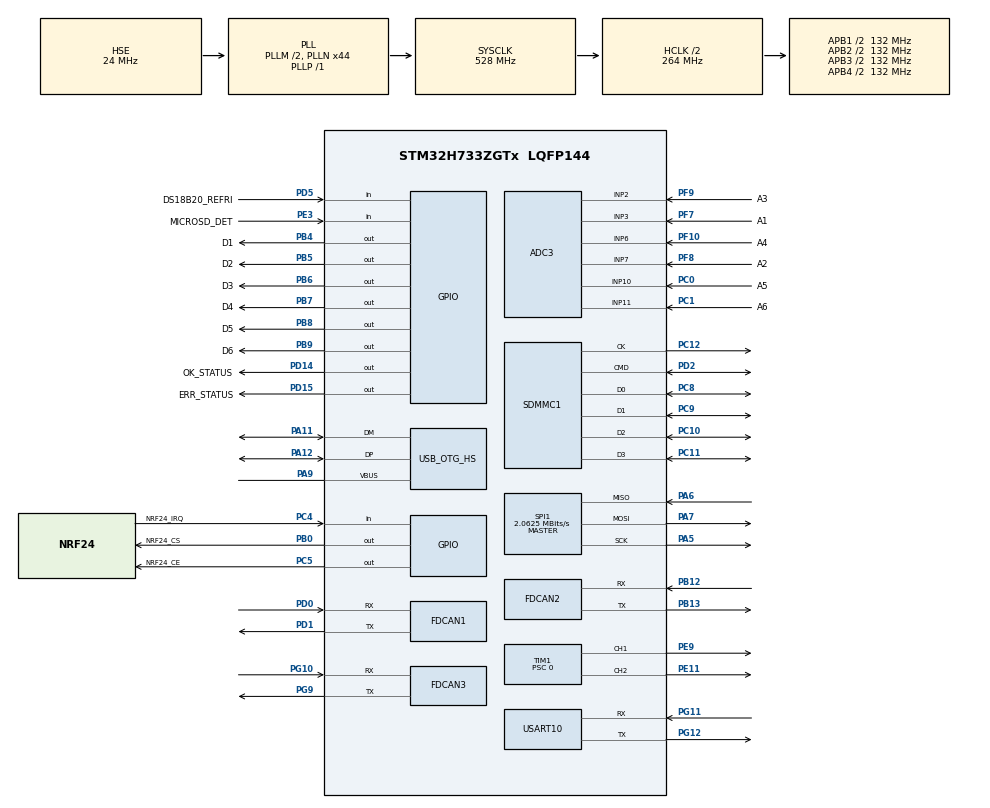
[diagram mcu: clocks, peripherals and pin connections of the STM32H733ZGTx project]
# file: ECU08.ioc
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ADC3.Channel-0\#ChannelRegularConversion=ADC_CHANNEL_3
ADC3.NbrOfConversionFlag=1
ADC3.OffsetNumber-0\#ChannelRegularConversion=ADC_OFFSET_NONE
ADC3.OffsetSign-0\#ChannelRegularConversion=ADC3_OFFSET_SIGN_NEGATIVE
ADC3.Rank-0\#ChannelRegularConversion=1
ADC3.SamplingTime-0\#ChannelRegularConversion=ADC3_SAMPLETIME_2CYCLES_5
FDCAN1.AutoRetransmission=ENABLE
FDCAN1.CalculateBaudRateNominal=500000
FDCAN1.CalculateTimeBitNominal=2000
FDCAN1.CalculateTimeQuantumNominal=250.0
FDCAN1.ExtFiltersNbr=1
FDCAN1.NominalPrescaler=6
FDCAN1.NominalTimeSeg1=2
FDCAN1.NominalTimeSeg2=5
FDCAN1.RxBuffersNbr=0
FDCAN1.RxFifo0ElmtsNbr=32
FDCAN1.RxFifo1ElmtsNbr=32
FDCAN1.StdFiltersNbr=1
FDCAN1.TxBuffersNbr=0
FDCAN1.TxEventsNbr=0
FDCAN1.TxFifoQueueElmtsNbr=32
FDCAN2.CalculateBaudRateNominal=500000
FDCAN2.CalculateTimeBitNominal=2000
FDCAN2.CalculateTimeQuantumNominal=250.0
FDCAN2.ExtFiltersNbr=1
FDCAN2.FrameFormat=FDCAN_FRAME_CLASSIC
FDCAN2.NominalPrescaler=6
FDCAN2.NominalTimeSeg1=2
FDCAN2.NominalTimeSeg2=5
FDCAN2.RxBuffersNbr=0
FDCAN2.RxFifo0ElmtSize=FDCAN_DATA_BYTES_8
FDCAN2.RxFifo0ElmtsNbr=16
FDCAN2.RxFifo1ElmtsNbr=16
FDCAN2.StdFiltersNbr=1
FDCAN2.TxBuffersNbr=0
FDCAN2.TxEventsNbr=0
FDCAN2.TxFifoQueueElmtsNbr=16
FDCAN3.CalculateBaudRateNominal=500000
FDCAN3.CalculateTimeBitNominal=2000
FDCAN3.CalculateTimeQuantumNominal=250.0
FDCAN3.ExtFiltersNbr=1
FDCAN3.NominalPrescaler=6
FDCAN3.NominalTimeSeg1=2
FDCAN3.NominalTimeSeg2=5
FDCAN3.RxFifo0ElmtsNbr=16
FDCAN3.RxFifo1ElmtsNbr=16
FDCAN3.StdFiltersNbr=1
FDCAN3.TxFifoQueueElmtsNbr=16
FREERTOS.Tasks01=defaultTask,24,128,StartDefaultTask,Default,NULL,Dynamic,NULL,NULL
Mcu.Family=STM32H7
Mcu.Name=STM32H733ZGTx
Mcu.Package=LQFP144
NVIC.FDCAN1_IT0_IRQn=true\:1\:0\:true\:false\:true\:true\:true\:true\:true
NVIC.FDCAN2_IT0_IRQn=true\:2\:0\:true\:false\:true\:true\:true\:true\:true
NVIC.FDCAN3_IT0_IRQn=true\:5\:0\:false\:false\:true\:true\:true\:true\:true
NVIC.PriorityGroup=NVIC_PRIORITYGROUP_4
NVIC.SDMMC1_IRQn=true\:5\:0\:false\:false\:true\:true\:true\:true\:true
NVIC.SPI1_IRQn=true\:5\:0\:false\:false\:true\:true\:true\:true\:true
NVIC.TIM16_IRQn=true\:5\:0\:false\:false\:true\:true\:true\:true\:true
NVIC.USART10_IRQn=true\:5\:0\:false\:false\:true\:true\:true\:true\:true
PA11.Mode=Device_Only_FS
PA11.Signal=USB_OTG_HS_DM
PA12.Mode=Device_Only_FS
PA12.Signal=USB_OTG_HS_DP
PA13(JTMS/SWDIO).Mode=Serial_Wire
PA13(JTMS/SWDIO).Signal=DEBUG_JTMS-SWDIO
PA14(JTCK/SWCLK).Mode=Serial_Wire
PA14(JTCK/SWCLK).Signal=DEBUG_JTCK-SWCLK
PA5.Mode=Full_Duplex_Master
PA5.Signal=SPI1_SCK
PA6.Mode=Full_Duplex_Master
PA6.Signal=SPI1_MISO
PA7.Mode=Full_Duplex_Master
PA7.Signal=SPI1_MOSI
PA9.Mode=Activate_VBUS_FS
PA9.Signal=USB_OTG_HS_VBUS
PB0.GPIO_Label=NRF24_CS
PB0.Signal=GPIO_Output
PB12.Mode=FDCAN_Activate
PB12.Signal=FDCAN2_RX
PB13.Mode=FDCAN_Activate
PB13.Signal=FDCAN2_TX
PB4(NJTRST).GPIO_Label=D1
PB4(NJTRST).Signal=GPIO_Output
PB5.GPIO_Label=D2
PB5.Signal=GPIO_Output
PB6.GPIO_Label=D3
PB6.Signal=GPIO_Output
PB7.GPIO_Label=D4
PB7.Signal=GPIO_Output
PB8.GPIO_Label=D5
PB8.Signal=GPIO_Output
PB9.GPIO_Label=D6
PB9.Signal=GPIO_Output
PC0.GPIO_Label=A5
PC0.Signal=ADCx_INP10
PC1.GPIO_Label=A6
PC1.Signal=ADCx_INP11
PC10.Mode=SD_4_bits_Wide_bus
PC10.Signal=SDMMC1_D2
PC11.Mode=SD_4_bits_Wide_bus
PC11.Signal=SDMMC1_D3
PC12.Mode=SD_4_bits_Wide_bus
PC12.Signal=SDMMC1_CK
PC4.GPIO_Label=NRF24_IRQ
PC4.Signal=GPIO_Input
PC5.GPIO_Label=NRF24_CE
PC5.Signal=GPIO_Output
PC8.Mode=SD_4_bits_Wide_bus
PC8.Signal=SDMMC1_D0
PC9.Mode=SD_4_bits_Wide_bus
PC9.Signal=SDMMC1_D1
PD0.Mode=FDCAN_Activate
PD0.Signal=FDCAN1_RX
PD1.Mode=FDCAN_Activate
PD1.Signal=FDCAN1_TX
PD14.GPIO_Label=OK_STATUS
PD14.Signal=GPIO_Output
PD15.GPIO_Label=ERR_STATUS
PD15.Signal=GPIO_Output
PD2.Mode=SD_4_bits_Wide_bus
PD2.Signal=SDMMC1_CMD
PD5.GPIO_Label=DS18B20_REFRI
PD5.Signal=GPIO_Input
PE11.Signal=S_TIM1_CH2
PE3.GPIO_Label=MICROSD_DET
PE3.Signal=GPIO_Input
PE9.Signal=S_TIM1_CH1
PF10.GPIO_Label=A4
PF10.Mode=IN6-Single-Ended
PF10.Signal=ADC3_INP6
PF7.GPIO_Label=A1
PF7.Mode=IN3-Single-Ended
PF7.Signal=ADC3_INP3
PF8.GPIO_Label=A2
PF8.Signal=SharedAnalog_PF8
PF9.GPIO_Label=A3
PF9.Mode=IN2-Single-Ended
PF9.Signal=ADC3_INP2
PG10.Mode=FDCAN_Activate
PG10.Signal=FDCAN3_RX
PG11.Mode=Asynchronous
PG11.Signal=USART10_RX
PG12.Mode=Asynchronous
PG12.Signal=USART10_TX
PG9.Mode=FDCAN_Activate
PG9.Signal=FDCAN3_TX
PH0-OSC_IN.Mode=HSE-External-Oscillator
PH0-OSC_IN.Signal=RCC_OSC_IN
PH1-OSC_OUT.Mode=HSE-External-Oscillator
PH1-OSC_OUT.Signal=RCC_OSC_OUT
ProjectManager.HeapSize=0x200
ProjectManager.StackSize=0x400
ProjectManager.TargetToolchain=STM32CubeIDE
RCC.ADCCLockSelection=RCC_ADCCLKSOURCE_PLL2
RCC.ADCFreq_Value=96000000
RCC.APB1Freq_Value=132000000
RCC.APB2Freq_Value=132000000
RCC.APB3Freq_Value=132000000
RCC.APB4Freq_Value=132000000
RCC.CECCLockSelection=RCC_CECCLKSOURCE_LSI
RCC.CKPERSourceSelection=RCC_CLKPSOURCE_HSI
RCC.CSI_VALUE=4000000
RCC.CortexFreq_Value=528000000
RCC.Cortex_DivARG=SystemCoreClock/1000
RCC.D1PPRE=RCC_APB3_DIV2
RCC.D2PPRE1=RCC_APB1_DIV2
RCC.D2PPRE2=RCC_APB2_DIV2
RCC.D3PPRE=RCC_APB4_DIV2
RCC.DFSDMCLockSelection=RCC_DFSDM1CLKSOURCE_D2PCLK1
RCC.DIVM1=2
RCC.DIVM2=2
RCC.DIVN1=44
RCC.DIVN2=16
RCC.DIVP1=1
RCC.DIVQ1=4
RCC.DIVR2=1
RCC.EXTERNAL_CLOCK_VALUE=12288000
RCC.FDCANCLockSelection=RCC_FDCANCLKSOURCE_HSE
RCC.FMCCLockSelection=RCC_FMCCLKSOURCE_D1HCLK
RCC.HCLKFreq_Value=264000000
RCC.HPRE=RCC_HCLK_DIV2
RCC.HSE_VALUE=24000000
RCC.HSI48_VALUE=48000000
RCC.HSI_VALUE=64000000
RCC.I2C123CLockSelection=RCC_I2C1235CLKSOURCE_D2PCLK1
RCC.I2C4CLockSelection=RCC_I2C4CLKSOURCE_D3PCLK1
RCC.LPTIM1CLockSelection=RCC_LPTIM1CLKSOURCE_D2PCLK1
RCC.LPTIM2CLockSelection=RCC_LPTIM2CLKSOURCE_D3PCLK1
RCC.LPTIM345CLockSelection=RCC_LPTIM345CLKSOURCE_D3PCLK1
RCC.LPUART1CLockSelection=RCC_LPUART1CLKSOURCE_D3PCLK1
RCC.LSE_VALUE=32768
RCC.PLL2FRACN=0
RCC.PLL3FRACN=0
RCC.PLLFRACN=0
RCC.PLLSourceVirtual=RCC_PLLSOURCE_HSE
RCC.QSPICLockSelection=RCC_OSPICLKSOURCE_D1HCLK
RCC.RCC_MCO1Source=RCC_MCO1SOURCE_HSI
RCC.RCC_MCO2Source=RCC_MCO2SOURCE_SYSCLK
RCC.RNGCLockSelection=RCC_RNGCLKSOURCE_HSI48
RCC.SAI1CLockSelection=RCC_SAI1CLKSOURCE_PLL
RCC.SAI4ACLockSelection=RCC_SAI4ACLKSOURCE_PLL
RCC.SAI4BCLockSelection=RCC_SAI4BCLKSOURCE_PLL
RCC.SDMMC1CLockSelection=RCC_SDMMCCLKSOURCE_PLL2
RCC.SPDIFCLockSelection=RCC_SPDIFRXCLKSOURCE_PLL
RCC.SPI123CLockSelection=RCC_SPI123CLKSOURCE_PLL
RCC.SPI6CLockSelection=RCC_SPI6CLKSOURCE_D3PCLK1
RCC.SWPCLockSelection=RCC_SWPMI1CLKSOURCE_D2PCLK1
RCC.SYSCLKFreq_VALUE=528000000
RCC.SYSCLKSource=RCC_SYSCLKSOURCE_PLLCLK
RCC.Spi45ClockSelection=RCC_SPI45CLKSOURCE_D2PCLK1
RCC.USART16CLockSelection=RCC_USART16910CLKSOURCE_D2PCLK2
RCC.USART234578CLockSelection=RCC_USART234578CLKSOURCE_D2PCLK1
RCC.USBCLockSelection=RCC_USBCLKSOURCE_PLL
RCC.USBFreq_Value=132000000
SDMMC1.ClockDiv=2
SH.ADCx_INP10.0=ADC3_INP10,IN10-Single-Ended
SH.ADCx_INP11.0=ADC3_INP11,IN11-Single-Ended
SH.S_TIM1_CH1.0=TIM1_CH1,PWM Generation1 CH1
SH.S_TIM1_CH2.0=TIM1_CH2,PWM Generation2 CH2
SH.SharedAnalog_PF8.0=ADC3_INN3
SH.SharedAnalog_PF8.1=ADC3_INP7,IN7-Single-Ended
SPI1.BaudRatePrescaler=SPI_BAUDRATEPRESCALER_64
SPI1.CalculateBaudRate=2.0625 MBits/s
SPI1.DataSize=SPI_DATASIZE_8BIT
SPI1.Direction=SPI_DIRECTION_2LINES
SPI1.Mode=SPI_MODE_MASTER
SPI1.NSSPMode=SPI_NSS_PULSE_DISABLE
SPI1.VirtualType=VM_MASTER
TIM1.AutoReloadPreload=TIM_AUTORELOAD_PRELOAD_ENABLE
TIM1.Channel-PWM\ Generation1\ CH1=TIM_CHANNEL_1
TIM1.Channel-PWM\ Generation2\ CH2=TIM_CHANNEL_2
TIM1.Period=65535
TIM1.Prescaler=0
TIM16.Period=10000 - 1
TIM16.Prescaler=528
USART10.VirtualMode-Asynchronous=VM_ASYNC
USB_OTG_HS.VirtualMode-Device_Only_FS=Device_Only_FS
VP_FREERTOS_VS_CMSIS_V2.Mode=CMSIS_V2
VP_MEMORYMAP_VS_MEMORYMAP.Mode=CurAppReg
VP_TIM16_VS_ClockSourceINT.Mode=Enable_Timer
VP_TIM1_VS_ClockSourceINT.Mode=Internal
board=custom

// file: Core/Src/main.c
/* USER CODE BEGIN Header */
/**
  ******************************************************************************
  * @file           : main.c
  * @brief          : Main program body
  ******************************************************************************
  * @attention
  *
  * Copyright (c) 2025 STMicroelectronics.
  * All rights reserved.
  *
  * This software is licensed under terms that can be found in the LICENSE file
  * in the root directory of this software component.
  * If no LICENSE file comes with this software, it is provided AS-IS.
  *
  ******************************************************************************
  */
/* USER CODE END Header */
#include "main.h"
#include "cmsis_os.h"
#include "adc.h"
#include "fdcan.h"
#include "sdmmc.h"
#include "spi.h"
#include "tim.h"
#include "usart.h"
#include "usb_otg.h"
#include "gpio.h"

/* USER CODE BEGIN Includes */
//#include "app/state/inverter_sm.h"
#include "inverter_sm.h"
#include "app.h"

/* USER CODE END Includes */

void SystemClock_Config(void);
void PeriphCommonClock_Config(void);
void MX_FREERTOS_Init(void);
/* USER CODE BEGIN PFP */
/* --------- Estado lógico persistente --------- */
static app_state_t app_state;

static inverter_sm_state_t inv_sm = {
    .current = INV_STATE_BOOT
};

static inverter_sm_outputs_t inv_sm_out;

/* --------- Variables reales (HAL / CAN / GPIO) --------- */
/* Estas YA EXISTEN en tu proyecto, aquí solo se usan */
extern int s1_aceleracion;
extern int s2_aceleracion;
extern int s_freno;
extern float v_celda_min;

extern int inv_dc_bus_voltage;
extern int precarga_inv;
extern uint8_t state;              // estado CAN del inversor
extern int start_button_act;

int s1_aceleracion = 0;
int s2_aceleracion = 0;
int s_freno = 0;
float v_celda_min = 4000.0f;

int inv_dc_bus_voltage = 0;
int precarga_inv = 0;
uint8_t state = 0;
int start_button_act = 0;

/* USER CODE END PFP */

int main(void)
{

  /* MCU Configuration--------------------------------------------------------*/

  /* Reset of all peripherals, Initializes the Flash interface and the Systick. */
  HAL_Init();

  /* Configure the system clock */
  SystemClock_Config();

  /* Configure the peripherals common clocks */
  PeriphCommonClock_Config();

  /* Initialize all configured peripherals */
  MX_GPIO_Init();
  MX_FDCAN1_Init();
  MX_FDCAN2_Init();
  MX_TIM1_Init();
  MX_TIM16_Init();
  MX_FDCAN3_Init();
  MX_ADC3_Init();
  MX_USART10_UART_Init();
  MX_SDMMC1_SD_Init();
  MX_SPI1_Init();
  MX_USB_OTG_HS_PCD_Init();

  /* Init scheduler */
  osKernelInitialize();

  /* Call init function for freertos objects (in cmsis_os2.c) */
  MX_FREERTOS_Init();

  /* Start scheduler */
  osKernelStart();

  /* We should never get here as control is now taken by the scheduler */

  /* Infinite loop */
  /* USER CODE BEGIN WHILE */
  while (1)
  {
	  /* ===== INVERTER STATE MACHINE ===== */

	  /* 1) Construir inputs (USA TUS VARIABLES REALES) */

    /* USER CODE END WHILE */

  }
}

void SystemClock_Config(void)
{
  RCC_OscInitTypeDef RCC_OscInitStruct = {0};
  RCC_ClkInitTypeDef RCC_ClkInitStruct = {0};

  /** Supply configuration update enable
  */
  HAL_PWREx_ConfigSupply(PWR_LDO_SUPPLY);

  /** Configure the main internal regulator output voltage
  */
  __HAL_PWR_VOLTAGESCALING_CONFIG(PWR_REGULATOR_VOLTAGE_SCALE0);

  while(!__HAL_PWR_GET_FLAG(PWR_FLAG_VOSRDY)) {}

  /** Initializes the RCC Oscillators according to the specified parameters
  * in the RCC_OscInitTypeDef structure.
  */
  RCC_OscInitStruct.OscillatorType = RCC_OSCILLATORTYPE_HSE;
  RCC_OscInitStruct.HSEState = RCC_HSE_ON;
  RCC_OscInitStruct.PLL.PLLState = RCC_PLL_ON;
  RCC_OscInitStruct.PLL.PLLSource = RCC_PLLSOURCE_HSE;
  RCC_OscInitStruct.PLL.PLLM = 2;
  RCC_OscInitStruct.PLL.PLLN = 44;
  RCC_OscInitStruct.PLL.PLLP = 1;
  RCC_OscInitStruct.PLL.PLLQ = 4;
  RCC_OscInitStruct.PLL.PLLR = 2;
  RCC_OscInitStruct.PLL.PLLRGE = RCC_PLL1VCIRANGE_3;
  RCC_OscInitStruct.PLL.PLLVCOSEL = RCC_PLL1VCOWIDE;
  RCC_OscInitStruct.PLL.PLLFRACN = 0;
  if (HAL_RCC_OscConfig(&RCC_OscInitStruct) != HAL_OK)
  {
    Error_Handler();
  }

  /** Initializes the CPU, AHB and APB buses clocks
  */
  RCC_ClkInitStruct.ClockType = RCC_CLOCKTYPE_HCLK|RCC_CLOCKTYPE_SYSCLK
                              |RCC_CLOCKTYPE_PCLK1|RCC_CLOCKTYPE_PCLK2
                              |RCC_CLOCKTYPE_D3PCLK1|RCC_CLOCKTYPE_D1PCLK1;
  RCC_ClkInitStruct.SYSCLKSource = RCC_SYSCLKSOURCE_PLLCLK;
  RCC_ClkInitStruct.SYSCLKDivider = RCC_SYSCLK_DIV1;
  RCC_ClkInitStruct.AHBCLKDivider = RCC_HCLK_DIV2;
  RCC_ClkInitStruct.APB3CLKDivider = RCC_APB3_DIV2;
  RCC_ClkInitStruct.APB1CLKDivider = RCC_APB1_DIV2;
  RCC_ClkInitStruct.APB2CLKDivider = RCC_APB2_DIV2;
  RCC_ClkInitStruct.APB4CLKDivider = RCC_APB4_DIV2;

  if (HAL_RCC_ClockConfig(&RCC_ClkInitStruct, FLASH_LATENCY_3) != HAL_OK)
  {
    Error_Handler();
  }
}

void PeriphCommonClock_Config(void)
{
  RCC_PeriphCLKInitTypeDef PeriphClkInitStruct = {0};

  /** Initializes the peripherals clock
  */
  PeriphClkInitStruct.PeriphClockSelection = RCC_PERIPHCLK_ADC|RCC_PERIPHCLK_SDMMC;
  PeriphClkInitStruct.PLL2.PLL2M = 2;
  PeriphClkInitStruct.PLL2.PLL2N = 16;
  PeriphClkInitStruct.PLL2.PLL2P = 2;
  PeriphClkInitStruct.PLL2.PLL2Q = 2;
  PeriphClkInitStruct.PLL2.PLL2R = 1;
  PeriphClkInitStruct.PLL2.PLL2RGE = RCC_PLL2VCIRANGE_3;
  PeriphClkInitStruct.PLL2.PLL2VCOSEL = RCC_PLL2VCOWIDE;
  PeriphClkInitStruct.PLL2.PLL2FRACN = 0;
  PeriphClkInitStruct.SdmmcClockSelection = RCC_SDMMCCLKSOURCE_PLL2;
  PeriphClkInitStruct.AdcClockSelection = RCC_ADCCLKSOURCE_PLL2;
  if (HAL_RCCEx_PeriphCLKConfig(&PeriphClkInitStruct) != HAL_OK)
  {
    Error_Handler();
  }
}

/* USER CODE BEGIN 4 */
static void inverter_send_precharge(void)
{
    /* TODO Fase C: CAN precarga */
}

static void inverter_set_ready(void)
{
    /* TODO Fase C: RX_SETPOINT READY */
}

static void inverter_send_torque(uint16_t torque)
{
    (void)torque;
    /* TODO Fase C: CAN 0x362 */
}

static void inverter_shutdown(void)
{
    /* TODO Fase C: RX_SETPOINT shutdown */
}

void HAL_TIM_PeriodElapsedCallback(TIM_HandleTypeDef *htim)
{
    if (htim != &htim16) return;

    /* ---------------- APP INPUTS ---------------- */
    app_inputs_t app_in = {
        .accel1_raw = s1_aceleracion,
        .accel2_raw = s2_aceleracion,
        .brake_raw  = s_freno,
        .v_cell_min = v_celda_min,
        .now_ms     = HAL_GetTick(),
    };

    app_outputs_t app_out;

    /* Ejecutar lógica de aplicación (torque + safety) */
    app_step(&app_in, &app_state, &app_out);

    /* ---------------- INVERTER SM INPUTS ---------------- */
    inverter_sm_inputs_t inv_in = {
        .hv_ok           = (inv_dc_bus_voltage > 60),
        .precharge_done  = (precarga_inv == 1),
        .inverter_ok     = (state == 4 || state == 6),
        .start_button    = (start_button_act == 1),
        .fault_present   = (state == 10 || state == 11),
    };

    /* Ejecutar máquina de estados del inversor */
    inverter_sm_step(&inv_in, &inv_sm, &inv_sm_out);

    /* ---------------- BRIDGE: aplicar outputs ---------------- */

    if (inv_sm_out.enable_precharge) {
        inverter_send_precharge();
    }

    if (inv_sm_out.enable_inverter) {
        inverter_set_ready();
    }

    if (inv_sm_out.allow_torque) {
        inverter_send_torque(app_out.torque_cmd);
    } else {
        inverter_send_torque(0);
    }

    if (inv_sm_out.request_shutdown) {
        inverter_shutdown();
    }

}
/* USER CODE END 4 */

void Error_Handler(void)
{
  __disable_irq();
  while (1)
  {
  }
}
